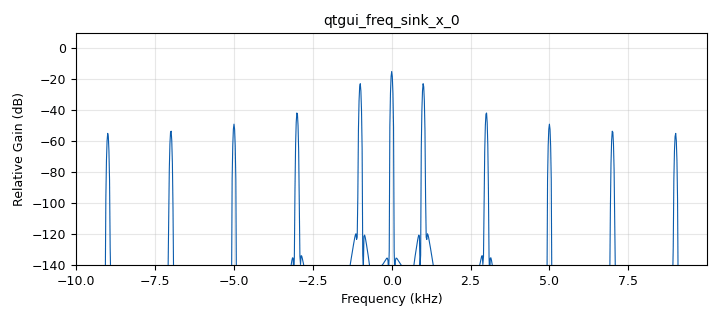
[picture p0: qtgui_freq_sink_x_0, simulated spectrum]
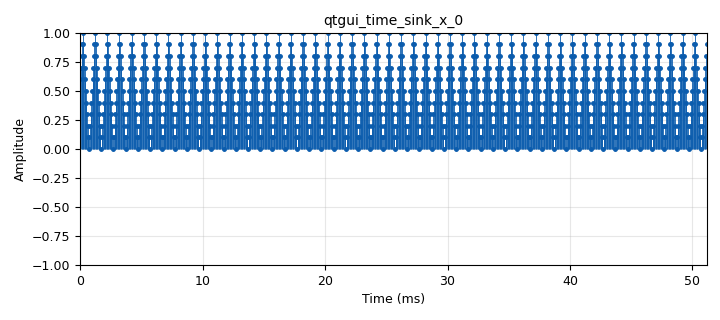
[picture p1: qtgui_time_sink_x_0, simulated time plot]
options:
  parameters:
    author: Kevin_Tellez_Daniel_Sarmiento_E1B_G2
    generate_options: qt_gui
    id: parte_1
    output_language: python
    title: LAB_1_PUNTO_6
  states: {}

blocks:
- name: freq
  id: variable_qtgui_range
  parameters:
    label: frequency
    start: '1000'
    step: '1000'
    stop: '40000'
    value: '1000'
  states: {}
- name: samp_rate
  id: variable_qtgui_range
  parameters:
    label: Frecuencia_de_muestreo
    start: '1000'
    step: '1000'
    stop: '80000'
    value: '20000'
  states: {}
- name: analog_sig_source_x_0
  id: analog_sig_source_x
  parameters:
    amp: '1'
    freq: freq
    offset: '0'
    phase: '0'
    samp_rate: samp_rate
    type: float
    waveform: analog.GR_TRI_WAVE
  states: {}
- name: blocks_throttle_0
  id: blocks_throttle
  parameters:
    samples_per_second: samp_rate
    type: float
  states: {}
- name: qtgui_freq_sink_x_0
  id: qtgui_freq_sink_x
  parameters:
    bw: samp_rate
    fc: '0'
    fftsize: '1024'
    type: float
  states: {}
- name: qtgui_time_sink_x_0
  id: qtgui_time_sink_x
  parameters:
    size: '1024'
    srate: samp_rate
    stemplot: 'True'
    type: float
  states: {}

connections:
- [analog_sig_source_x_0, '0', blocks_throttle_0, '0']
- [blocks_throttle_0, '0', qtgui_freq_sink_x_0, '0']
- [blocks_throttle_0, '0', qtgui_time_sink_x_0, '0']

metadata:
  file_format: 1
  grc_version: 3.9.8.0
